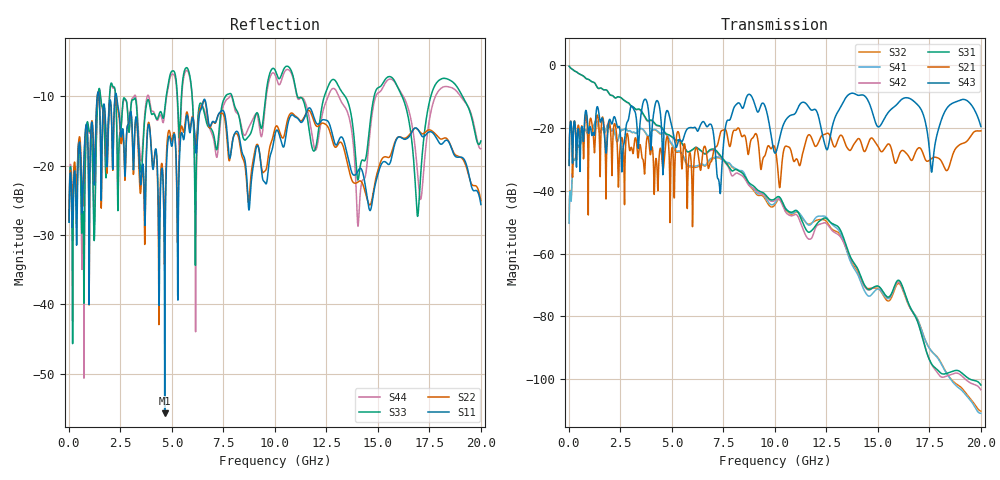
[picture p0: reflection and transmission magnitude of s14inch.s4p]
! Created Wed Feb 25 18:01:53 2015
# hz S ma R 50
! 4 Port Network Data from SP1.SP block
! freq  magS11  angS11  magS12  angS12  magS13  angS13  magS14  angS14
!  magS21  angS21  magS22  angS22  magS23  angS23  magS24  angS24
!  magS31  angS31  magS32  angS32  magS33  angS33  magS34  angS34
!  magS41  angS41  magS42  angS42  magS43  angS43  magS44  angS44
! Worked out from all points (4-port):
!   2000 points, 10 MHz to 20 GHz, reference 50 ohm
!   strongest paths, dB at 10 MHz, 5.01 GHz, 10.01 GHz, 15.01 GHz, 20 GHz:
!     S43: -32.0, -19.9, -28.1, -19.7, -19.6
!     S21: -31.9, -26.2, -26.6, -26.0, -21.0
!     S31: -0.4, -22.9, -42.6, -70.4, -101.8
!     S42: -0.4, -22.9, -43.1, -70.5, -103.4
!     S41: -50.4, -25.1, -43.8, -71.3, -110.8
!     S32: -50.3, -25.5, -44.4, -71.2, -110.2
!   lowest |S11| = -55.7 dB at 4.65 GHz (marker M1), VSWR 1.00, Z = 49.9 + j0.082 ohm
!   |S11| at or under -10 dB: start of sweep to 1.376 GHz; 1.463 GHz to 2.24 GHz (776.5 MHz wide, 41.9 % of centre); 2.316 GHz to end of sweep
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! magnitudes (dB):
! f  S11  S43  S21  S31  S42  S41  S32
! 10 MHz  -28.1  -32.0  -31.9  -0.4  -0.4  -50.4  -50.3
! 1.3 GHz  -14.8  -16.9  -19.8  -6.2  -6.2  -17.7  -17.8
! 4.65 GHz  -55.7  -18.0  -28.5  -21.5  -21.6  -21.4  -21.5
! 7.3 GHz  -12.4  -37.9  -23.0  -28.4  -28.8  -29.4  -29.6
! 8.74 GHz  -26.4  -9.3  -27.6  -37.4  -38.3  -37.8  -38.1
! 10.02 GHz  -15.3  -28.1  -26.9  -42.5  -43.1  -43.7  -44.3
! 20 GHz  -25.6  -19.6  -21.0  -101.8  -103.4  -110.8  -110.2
